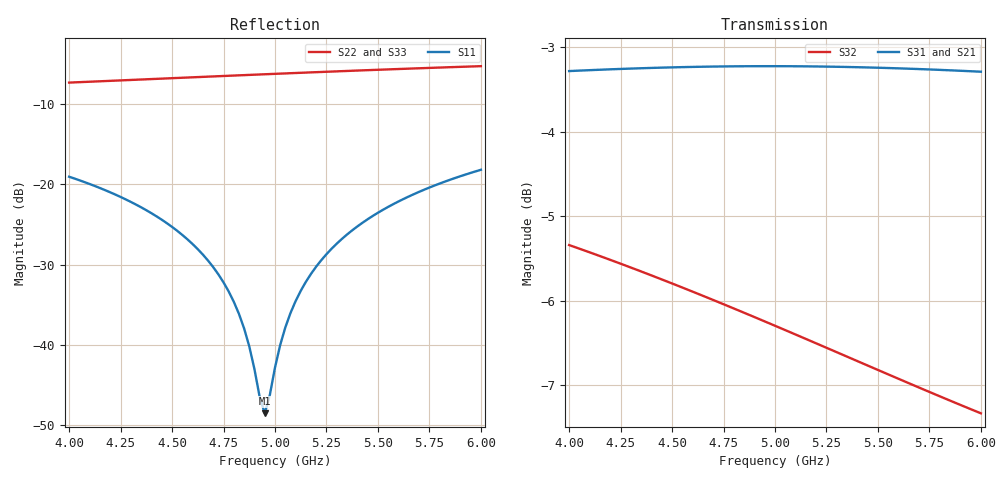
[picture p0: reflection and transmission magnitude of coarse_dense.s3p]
! yapnr rf: divider-osh-m-star, footprint re-simulated (optimization grid)
! spec sha256 5c8ff818df422873aa88d55bef2dedd6a6ce6afaf8815cf4395bdffaf75e430d
! 3 ports renormalized to 50 ohm, e^(+jwt) convention
# GHz S RI R 50
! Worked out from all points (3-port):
!   81 points, 4 GHz to 6 GHz, reference 50 ohm
!   strongest paths, dB at 4 GHz, 4.5 GHz, 5 GHz, 5.5 GHz, 6 GHz:
!     S31: -3.3, -3.2, -3.2, -3.2, -3.3
!     S21: -3.3, -3.2, -3.2, -3.2, -3.3
!     S32: -5.3, -5.8, -6.3, -6.8, -7.3
!   lowest |S11| = -48.5 dB at 4.95 GHz (marker M1), VSWR 1.01, Z = 50.4 - j0.0209 ohm
!   |S11| at or under -10 dB: start of sweep to end of sweep
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4  -0.0331 0.1068  -0.2275 -0.6465  -0.2275 -0.6465
   -0.2277 -0.6466  0.3186 0.2914  -0.4042 -0.359
   -0.2277 -0.6466  -0.4042 -0.359  0.3186 0.2914
4.4  -0.00835 0.0656  -0.3529 -0.5909  -0.3529 -0.5909
     -0.3531 -0.591  0.399 0.2171  -0.4555 -0.2481
     -0.3531 -0.591  -0.4555 -0.2481  0.399 0.2171
4.675  0.0012 0.0335  -0.4317 -0.5376  -0.4317 -0.5376
       -0.4319 -0.5377  0.4444 0.154  -0.4732 -0.1707
       -0.4319 -0.5377  -0.4732 -0.1707  0.4444 0.154
4.825  0.00348 0.0152  -0.4713 -0.5037  -0.4713 -0.5037
       -0.4715 -0.5038  0.4649 0.116  -0.4772 -0.1291
       -0.4715 -0.5038  -0.4772 -0.1291  0.4649 0.116
4.95  0.00374 -0.000207  -0.5022 -0.4731  -0.5022 -0.4731
      -0.5023 -0.4732  0.4795 0.0827  -0.4777 -0.0953
      -0.5023 -0.4732  -0.4777 -0.0953  0.4795 0.0827
5  0.00341 -0.00637  -0.5139 -0.4603  -0.5139 -0.4603
   -0.5141 -0.4604  0.4847 0.069  -0.4772 -0.082
   -0.5141 -0.4604  -0.4772 -0.082  0.4847 0.069
5.1  0.00202 -0.0186  -0.5364 -0.4338  -0.5364 -0.4338
     -0.5366 -0.4338  0.4939 0.041  -0.4752 -0.0559
     -0.5366 -0.4338  -0.4752 -0.0559  0.4939 0.041
5.3  -0.0037 -0.0426  -0.5769 -0.3774  -0.5769 -0.3774
     -0.5771 -0.3774  0.5071 -0.0168  -0.467 -0.00588
     -0.5771 -0.3774  -0.467 -0.00588  0.5071 -0.0168
5.6  -0.0194 -0.0759  -0.6258 -0.2857  -0.6258 -0.2857
     -0.6259 -0.2857  0.5138 -0.1064  -0.446 0.0629
     -0.6259 -0.2857  -0.446 0.0629  0.5138 -0.1064
6  -0.052 -0.112  -0.667 -0.1548  -0.667 -0.1548
   -0.6672 -0.1547  0.4976 -0.2263  -0.4057 0.1415
   -0.6672 -0.1547  -0.4057 0.1415  0.4976 -0.2263
